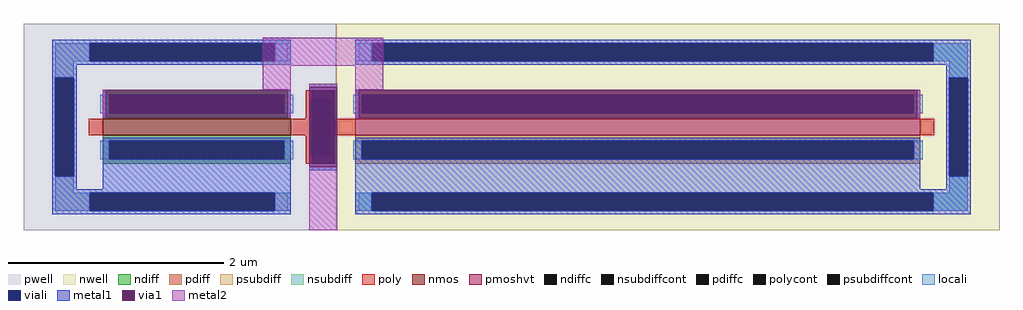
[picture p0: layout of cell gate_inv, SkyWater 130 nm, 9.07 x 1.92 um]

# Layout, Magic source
magic
tech sky130A
magscale 1 2
<< nwell >>
rect 594 0 1827 384
<< pwell >>
rect 13 0 594 384
<< nmos >>
rect 160 177 510 207
<< pmoshvt >>
rect 630 177 1680 207
<< ndiff >>
rect 160 252 510 260
rect 160 218 172 252
rect 498 218 510 252
rect 160 207 510 218
rect 160 166 510 177
rect 160 132 172 166
rect 498 132 510 166
rect 160 124 510 132
<< pdiff >>
rect 630 252 1680 260
rect 630 218 642 252
rect 1668 218 1680 252
rect 630 207 1680 218
rect 630 166 1680 177
rect 630 132 642 166
rect 1668 132 1680 166
rect 630 124 1680 132
<< ndiffc >>
rect 172 218 498 252
rect 172 132 498 166
<< pdiffc >>
rect 642 218 1668 252
rect 642 132 1668 166
<< psubdiff >>
rect 72 314 136 348
rect 480 314 504 348
rect 72 284 106 314
rect 72 70 106 100
rect 72 36 136 70
rect 480 36 504 70
<< nsubdiff >>
rect 636 314 660 348
rect 1704 314 1768 348
rect 1734 284 1768 314
rect 1734 70 1768 100
rect 636 36 660 70
rect 1704 36 1768 70
<< psubdiffcont >>
rect 136 314 480 348
rect 72 100 106 284
rect 136 36 480 70
<< nsubdiffcont >>
rect 660 314 1704 348
rect 1734 100 1768 284
rect 660 36 1704 70
<< poly >>
rect 538 244 592 260
rect 538 207 548 244
rect 134 177 160 207
rect 510 177 548 207
rect 538 140 548 177
rect 582 207 592 244
rect 582 177 630 207
rect 1680 177 1706 207
rect 582 140 592 177
rect 538 124 592 140
<< polycont >>
rect 548 140 582 244
<< locali >>
rect 72 314 136 348
rect 480 314 510 348
rect 630 314 660 348
rect 1704 314 1768 348
rect 72 284 106 314
rect 1734 284 1768 314
rect 156 218 172 252
rect 498 218 514 252
rect 548 244 550 260
rect 156 132 172 166
rect 498 132 514 166
rect 548 124 550 140
rect 590 124 592 260
rect 626 218 642 252
rect 1668 218 1684 252
rect 626 132 642 166
rect 1668 132 1684 166
rect 72 70 106 100
rect 1734 70 1768 100
rect 72 36 136 70
rect 480 36 510 70
rect 630 36 660 70
rect 1704 36 1768 70
<< viali >>
rect 136 314 480 348
rect 660 314 1704 348
rect 72 100 106 284
rect 172 218 498 252
rect 550 244 590 260
rect 172 132 498 166
rect 550 140 582 244
rect 582 140 590 244
rect 550 124 590 140
rect 642 218 1668 252
rect 642 132 1668 166
rect 1734 100 1768 284
rect 136 36 480 70
rect 660 36 1704 70
<< metal1 >>
rect 66 348 510 354
rect 66 314 136 348
rect 480 314 510 348
rect 66 308 510 314
rect 630 348 1774 354
rect 630 314 660 348
rect 1704 314 1774 348
rect 630 308 1774 314
rect 66 284 112 308
rect 66 100 72 284
rect 106 100 112 284
rect 1728 284 1774 308
rect 544 266 596 272
rect 160 209 166 261
rect 504 209 510 261
rect 66 76 112 100
rect 160 166 510 172
rect 160 132 172 166
rect 498 132 510 166
rect 160 76 510 132
rect 630 209 636 261
rect 1674 209 1680 261
rect 544 112 596 118
rect 630 166 1680 172
rect 630 132 642 166
rect 1668 132 1680 166
rect 66 70 510 76
rect 66 36 136 70
rect 480 36 510 70
rect 66 30 510 36
rect 630 76 1680 132
rect 1728 100 1734 284
rect 1768 100 1774 284
rect 1728 76 1774 100
rect 630 70 1774 76
rect 630 36 660 70
rect 1704 36 1774 70
rect 630 30 1774 36
<< via1 >>
rect 166 252 504 261
rect 166 218 172 252
rect 172 218 498 252
rect 498 218 504 252
rect 166 209 504 218
rect 544 260 596 266
rect 544 124 550 260
rect 550 124 590 260
rect 590 124 596 260
rect 636 252 1674 261
rect 636 218 642 252
rect 642 218 1668 252
rect 1668 218 1674 252
rect 636 209 1674 218
rect 544 118 596 124
<< metal2 >>
rect 458 306 682 358
rect 458 261 510 306
rect 160 209 166 261
rect 504 209 510 261
rect 544 266 596 272
rect 630 261 682 306
rect 630 209 636 261
rect 1674 209 1680 261
rect 544 0 596 118
<< properties >>
string FIXED_BBOX 0 0 1840 384
<< end >>
